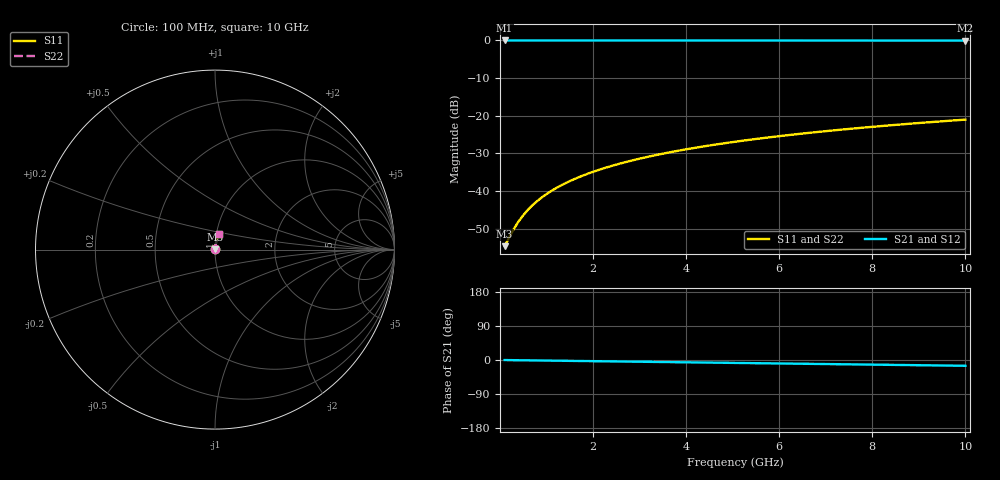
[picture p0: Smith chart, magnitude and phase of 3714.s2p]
# Hz S RI R 50.00
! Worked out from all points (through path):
!   100 points, 100 MHz to 10 GHz, reference 50 ohm
!   highest |S21| = -0.01 dB at 100 MHz (marker M1); lowest = -0.1 dB at 10 GHz (marker M2)
!   group delay of S21, straight-line fit = 4.24 ps
!   lowest |S11| = -54.7 dB at 100 MHz (marker M3), VSWR 1.00, Z = 50.2 + j0.0892 ohm
!   |S11| at or under -10 dB: start of sweep to end of sweep
!   |S22| runs from -54.7 to -21.1 dB; largest |S21 - S12| = 0
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1e8  0.00162 0.000889  0.9984 -0.00265  0.9984 -0.00265  0.00162 0.000889
3e8  0.00165 0.00267  0.9983 -0.00795  0.9983 -0.00795  0.00165 0.00267
4e8  0.00168 0.00356  0.9983 -0.0106  0.9983 -0.0106  0.00168 0.00356
5e8  0.0017 0.00445  0.9983 -0.0133  0.9983 -0.0133  0.0017 0.00445
6e8  0.00173 0.00533  0.9982 -0.0159  0.9982 -0.0159  0.00173 0.00533
7e8  0.00177 0.00622  0.9981 -0.0186  0.9981 -0.0186  0.00177 0.00622
8e8  0.00181 0.00711  0.9981 -0.0212  0.9981 -0.0212  0.00181 0.00711
9e8  0.00185 0.008  0.998 -0.0239  0.998 -0.0239  0.00185 0.008
1e9  0.0019 0.00889  0.9979 -0.0265  0.9979 -0.0265  0.0019 0.00889
1.2e9  0.002 0.0107  0.9978 -0.0318  0.9978 -0.0318  0.002 0.0107
1.5e9  0.0022 0.0133  0.9974 -0.0398  0.9974 -0.0398  0.0022 0.0133
1.8e9  0.00244 0.016  0.997 -0.0477  0.997 -0.0477  0.00244 0.016
2.1e9  0.00272 0.0186  0.9966 -0.0557  0.9966 -0.0557  0.00272 0.0186
2.5e9  0.00316 0.0222  0.9958 -0.0663  0.9958 -0.0663  0.00316 0.0222
2.9e9  0.00368 0.0257  0.995 -0.0768  0.995 -0.0768  0.00368 0.0257
3.4e9  0.00443 0.0301  0.9937 -0.0901  0.9937 -0.0901  0.00443 0.0301
4.2e9  0.00586 0.037  0.9913 -0.1112  0.9913 -0.1112  0.00586 0.037
5.1e9  0.00784 0.0448  0.988 -0.1349  0.988 -0.1349  0.00784 0.0448
5.9e9  0.0099 0.0516  0.9845 -0.1559  0.9845 -0.1559  0.0099 0.0516
6.7e9  0.0123 0.0583  0.9806 -0.1768  0.9806 -0.1768  0.0123 0.0583
8.4e9  0.0182 0.0723  0.9705 -0.2209  0.9705 -0.2209  0.0182 0.0723
1e10  0.025 0.085  0.959 -0.262  0.959 -0.262  0.025 0.085
